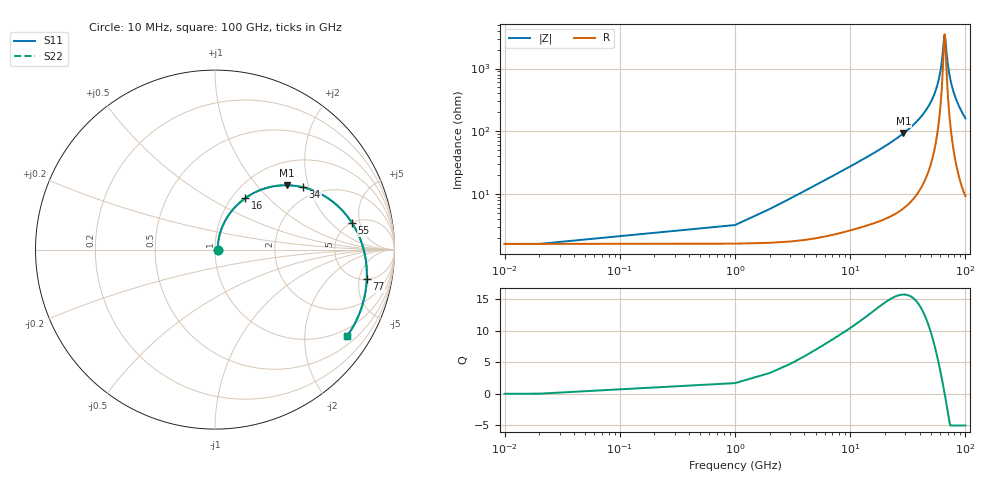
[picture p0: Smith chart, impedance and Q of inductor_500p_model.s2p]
! Inductor model fitted by inductor_fit.py 1.2 from inductor_500p.s2p
#  Hz  S  RI  R  50
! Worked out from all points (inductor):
!   102 points, 10 MHz to 100 GHz, reference 50 ohm
!   read as 1/Y11, port 2 shorted: L = 436 pH near 2 GHz
!   highest Q = 15.7 at 29 GHz (marker M1), where L = 507 pH
!   self-resonance near 66 GHz
!   S11 on the Smith chart (normalised r, x): 10 MHz: 1.03, +0.00; 16 GHz: 1.15, +0.74; 34 GHz: 1.68, +1.83; 55 GHz: 5.11, +3.81; 77 GHz: 5.04, -6.46; 100 GHz: 0.76, -3.21
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1e7  0.0157 0.000219  0.9843 -0.000313  0.9843 -0.000313  0.0157 0.000219
2e9  0.0183 0.044  0.9799 -0.062  0.9799 -0.062  0.0183 0.044
3e9  0.0218 0.066  0.975 -0.0919  0.975 -0.0919  0.0218 0.066
4e9  0.0269 0.0876  0.9685 -0.121  0.9685 -0.121  0.0269 0.0876
5e9  0.0335 0.1086  0.9609 -0.1492  0.9609 -0.1492  0.0335 0.1086
7e9  0.0504 0.1485  0.9422 -0.2034  0.9422 -0.2034  0.0504 0.1485
9e9  0.0714 0.1851  0.9196 -0.2543  0.9196 -0.2543  0.0714 0.1851
1.2e10  0.1094 0.234  0.8794 -0.3247  0.8794 -0.3247  0.1094 0.234
1.6e10  0.1694 0.2871  0.8158 -0.407  0.8158 -0.407  0.1694 0.2871
1.7e10  0.1858 0.2981  0.7984 -0.4254  0.7984 -0.4254  0.1858 0.2981
2.3e10  0.2915 0.3448  0.6856 -0.5165  0.6856 -0.5165  0.2915 0.3448
2.9e10  0.402 0.3585  0.5658 -0.5753  0.5658 -0.5753  0.402 0.3585
3.4e10  0.4909 0.3471  0.4673 -0.6021  0.4673 -0.6021  0.4909 0.3471
4.2e10  0.6172 0.2939  0.3216 -0.6113  0.3216 -0.6113  0.6172 0.2939
5.1e10  0.7273 0.1978  0.1829 -0.5874  0.1829 -0.5874  0.7273 0.1978
5.5e10  0.7644 0.1472  0.1305 -0.5696  0.1305 -0.5696  0.7644 0.1472
6.1e10  0.8065 0.0655  0.0617 -0.5384  0.0617 -0.5384  0.8065 0.0655
6.7e10  0.8331 -0.02  0.00342 -0.5045  0.00342 -0.5045  0.8331 -0.02
7.7e10  0.8456 -0.1653  -0.0756 -0.448  -0.0756 -0.448  0.8456 -0.1653
8.4e10  0.8324 -0.2655  -0.122 -0.4115  -0.122 -0.4115  0.8324 -0.2655
9.2e10  0.7963 -0.376  -0.1712 -0.3741  -0.1712 -0.3741  0.7963 -0.376
1e11  0.7377 -0.4795  -0.2216 -0.3409  -0.2216 -0.3409  0.7377 -0.4795
